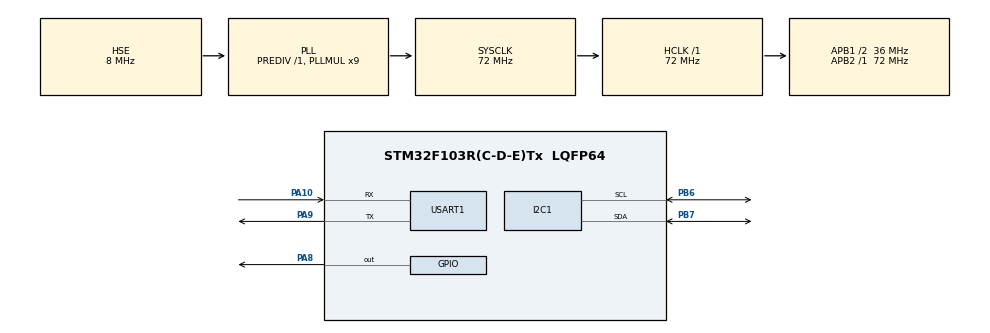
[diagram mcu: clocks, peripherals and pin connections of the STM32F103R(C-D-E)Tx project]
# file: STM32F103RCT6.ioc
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Mcu.Family=STM32F1
Mcu.Name=STM32F103R(C-D-E)Tx
Mcu.Package=LQFP64
NVIC.PriorityGroup=NVIC_PRIORITYGROUP_4
PA10.Mode=Asynchronous
PA10.Signal=USART1_RX
PA13.Mode=Serial_Wire
PA13.Signal=SYS_JTMS-SWDIO
PA14.Mode=Serial_Wire
PA14.Signal=SYS_JTCK-SWCLK
PA8.Signal=GPIO_Output
PA9.Mode=Asynchronous
PA9.Signal=USART1_TX
PB6.Mode=I2C
PB6.Signal=I2C1_SCL
PB7.Mode=I2C
PB7.Signal=I2C1_SDA
PD0-OSC_IN.Mode=HSE-External-Oscillator
PD0-OSC_IN.Signal=RCC_OSC_IN
PD1-OSC_OUT.Mode=HSE-External-Oscillator
PD1-OSC_OUT.Signal=RCC_OSC_OUT
ProjectManager.HeapSize=0x200
ProjectManager.StackSize=0x400
ProjectManager.TargetToolchain=CMake
RCC.AHBFreq_Value=72000000
RCC.APB1CLKDivider=RCC_HCLK_DIV2
RCC.APB1Freq_Value=36000000
RCC.APB1TimFreq_Value=72000000
RCC.APB2Freq_Value=72000000
RCC.APB2TimFreq_Value=72000000
RCC.HCLKFreq_Value=72000000
RCC.PLLMUL=RCC_PLL_MUL9
RCC.PLLSourceVirtual=RCC_PLLSOURCE_HSE
RCC.SYSCLKFreq_VALUE=72000000
RCC.SYSCLKSource=RCC_SYSCLKSOURCE_PLLCLK
RCC.USBFreq_Value=72000000
USART1.VirtualMode=VM_ASYNC
board=custom

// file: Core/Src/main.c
/* USER CODE BEGIN Header */
/**
  ******************************************************************************
  * @file           : main.c
  * @brief          : Main program body
  ******************************************************************************
  * @attention
  *
  * Copyright (c) 2026 STMicroelectronics.
  * All rights reserved.
  *
  * This software is licensed under terms that can be found in the LICENSE file
  * in the root directory of this software component.
  * If no LICENSE file comes with this software, it is provided AS-IS.
  *
  ******************************************************************************
  */
/* USER CODE END Header */
#include "main.h"
#include "font.h"
#include "i2c.h"
#include "usart.h"
#include "gpio.h"

/* USER CODE BEGIN Includes */
#include "aht20.h"
#include <string.h>
#include <stdio.h>
#include "oled.h"
/* USER CODE END Includes */

void SystemClock_Config(void);

int main(void)
{

  /* MCU Configuration--------------------------------------------------------*/

  /* Reset of all peripherals, Initializes the Flash interface and the Systick. */
  HAL_Init();

  /* Configure the system clock */
  SystemClock_Config();

  /* Initialize all configured peripherals */
  MX_GPIO_Init();
  MX_I2C1_Init();
  MX_USART1_UART_Init();
  /* USER CODE BEGIN 2 */
  // 初始化 AHT20 温湿度传感器
  if (AHT20_Init() != HAL_OK) {
      // AHT20 初始化失败，可在此添加错误提示或重试逻辑
  }

  // 初始化 OLED 显示
  OLED_Init();
  /* USER CODE END 2 */

  /* Infinite loop */
  /* USER CODE BEGIN WHILE */
  while (1)
  {
    // 点亮 LED 指示灯
    HAL_GPIO_WritePin(GPIOA, GPIO_PIN_8, GPIO_PIN_SET);

    // 读取 AHT20 温湿度数据
    float humidity, temperature;
    if (AHT20_Measure(&humidity, &temperature) == HAL_OK) {
        // 格式化数值字符串，不带单位符号
        char temp_str[16];
        sprintf(temp_str, "%.2f", temperature);

        char hum_str[16];
        sprintf(hum_str, "%.2f", humidity);

        // 更新 OLED 显示，单位使用固定标签显示
        OLED_NewFrame();
        OLED_PrintASCIIString(0, 0, "Temp:", &afont16x8, OLED_COLOR_NORMAL);
        OLED_PrintASCIIString(45, 0, temp_str, &afont16x8, OLED_COLOR_NORMAL);
        OLED_PrintASCIIString(95, 0, "C", &afont16x8, OLED_COLOR_NORMAL);

        OLED_PrintASCIIString(0, 16, "Hum:", &afont16x8, OLED_COLOR_NORMAL);
        OLED_PrintASCIIString(45, 16, hum_str, &afont16x8, OLED_COLOR_NORMAL);
        OLED_PrintASCIIString(95, 16, "%", &afont16x8, OLED_COLOR_NORMAL);
        OLED_ShowFrame();

        // 同步输出到 UART 便于调试
        char uart_buf[60];
        sprintf(uart_buf, "T:%.2f°C H:%.2f%%\r\n", temperature, humidity);
        HAL_UART_Transmit(&huart1, (uint8_t*)uart_buf, strlen(uart_buf), HAL_MAX_DELAY);
    } else {
        // AHT20 读取失败
        char error_msg[] = "AHT20 Error\r\n";
        HAL_UART_Transmit(&huart1, (uint8_t*)error_msg, strlen(error_msg), HAL_MAX_DELAY);
    }

    // 延时 1 秒后继续读取
    HAL_Delay(1000);
    /* USER CODE END WHILE */

  }
}

void SystemClock_Config(void)
{
  RCC_OscInitTypeDef RCC_OscInitStruct = {0};
  RCC_ClkInitTypeDef RCC_ClkInitStruct = {0};

  /** Initializes the RCC Oscillators according to the specified parameters
  * in the RCC_OscInitTypeDef structure.
  */
  RCC_OscInitStruct.OscillatorType = RCC_OSCILLATORTYPE_HSE;
  RCC_OscInitStruct.HSEState = RCC_HSE_ON;
  RCC_OscInitStruct.HSEPredivValue = RCC_HSE_PREDIV_DIV1;
  RCC_OscInitStruct.HSIState = RCC_HSI_ON;
  RCC_OscInitStruct.PLL.PLLState = RCC_PLL_ON;
  RCC_OscInitStruct.PLL.PLLSource = RCC_PLLSOURCE_HSE;
  RCC_OscInitStruct.PLL.PLLMUL = RCC_PLL_MUL9;
  if (HAL_RCC_OscConfig(&RCC_OscInitStruct) != HAL_OK)
  {
    Error_Handler();
  }

  /** Initializes the CPU, AHB and APB buses clocks
  */
  RCC_ClkInitStruct.ClockType = RCC_CLOCKTYPE_HCLK|RCC_CLOCKTYPE_SYSCLK
                              |RCC_CLOCKTYPE_PCLK1|RCC_CLOCKTYPE_PCLK2;
  RCC_ClkInitStruct.SYSCLKSource = RCC_SYSCLKSOURCE_PLLCLK;
  RCC_ClkInitStruct.AHBCLKDivider = RCC_SYSCLK_DIV1;
  RCC_ClkInitStruct.APB1CLKDivider = RCC_HCLK_DIV2;
  RCC_ClkInitStruct.APB2CLKDivider = RCC_HCLK_DIV1;

  if (HAL_RCC_ClockConfig(&RCC_ClkInitStruct, FLASH_LATENCY_2) != HAL_OK)
  {
    Error_Handler();
  }
}

void Error_Handler(void)
{
  __disable_irq();
  while (1)
  {
  }
}
